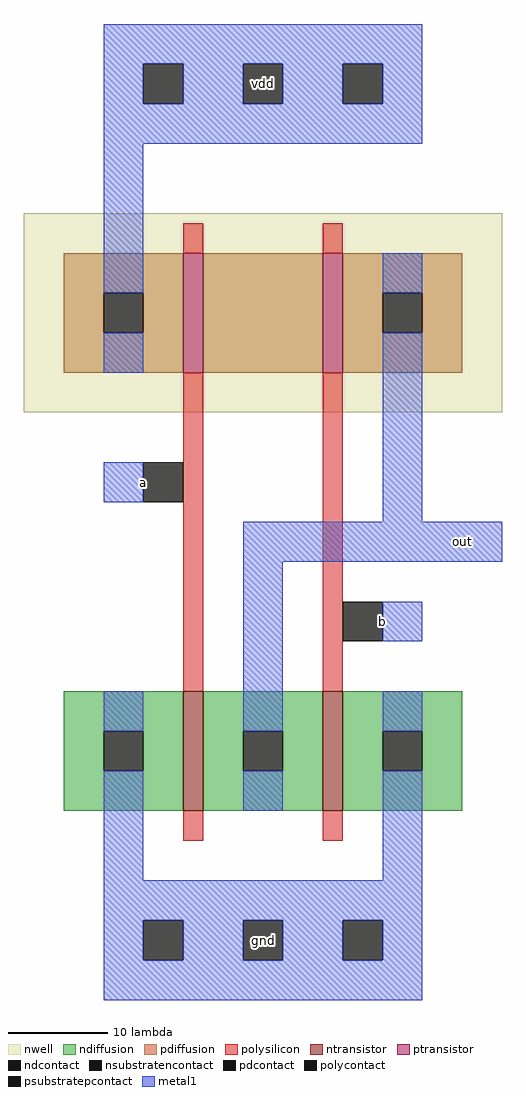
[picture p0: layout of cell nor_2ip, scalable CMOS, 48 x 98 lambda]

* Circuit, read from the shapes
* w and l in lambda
.subckt nor_2ip a b gnd out vdd
M1 out a gnd vdd nfet w=12 l=2
M2 gnd b out vdd nfet w=12 l=2
M3 n1 a vdd n2 pfet w=12 l=2
M4 out b n1 n2 pfet w=12 l=2
.ends

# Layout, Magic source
magic
tech scmos
<< nwell >>
rect -8 36 40 56
<< polysilicon >>
rect 8 52 10 55
rect 22 52 24 55
rect 8 8 10 40
rect 22 8 24 40
rect 8 -7 10 -4
rect 22 -7 24 -4
<< ndiffusion >>
rect -4 4 8 8
rect -4 0 0 4
rect 4 0 8 4
rect -4 -4 8 0
rect 10 4 22 8
rect 10 0 14 4
rect 18 0 22 4
rect 10 -4 22 0
rect 24 4 36 8
rect 24 0 28 4
rect 32 0 36 4
rect 24 -4 36 0
<< pdiffusion >>
rect -4 48 8 52
rect -4 44 0 48
rect 4 44 8 48
rect -4 40 8 44
rect 10 40 22 52
rect 24 48 36 52
rect 24 44 28 48
rect 32 44 36 48
rect 24 40 36 44
<< metal1 >>
rect 0 71 32 75
rect 0 67 4 71
rect 8 67 14 71
rect 18 67 24 71
rect 28 67 32 71
rect 0 63 32 67
rect 0 48 4 63
rect 0 40 4 44
rect 28 48 32 52
rect 0 27 4 31
rect 28 25 32 44
rect 14 21 40 25
rect 0 4 4 8
rect 0 -11 4 0
rect 14 4 18 21
rect 28 13 32 17
rect 14 -4 18 0
rect 28 4 32 8
rect 28 -11 32 0
rect 0 -15 32 -11
rect 0 -19 4 -15
rect 8 -19 14 -15
rect 18 -19 24 -15
rect 28 -19 32 -15
rect 0 -23 32 -19
<< ntransistor >>
rect 8 -4 10 8
rect 22 -4 24 8
<< ptransistor >>
rect 8 40 10 52
rect 22 40 24 52
<< polycontact >>
rect 4 27 8 31
rect 24 13 28 17
<< ndcontact >>
rect 0 0 4 4
rect 14 0 18 4
rect 28 0 32 4
<< pdcontact >>
rect 0 44 4 48
rect 28 44 32 48
<< psubstratepcontact >>
rect 4 67 8 71
rect 14 67 18 71
rect 24 67 28 71
<< nsubstratencontact >>
rect 4 -19 8 -15
rect 14 -19 18 -15
rect 24 -19 28 -15
<< labels >>
rlabel metal1 0 63 32 75 1 vdd
rlabel metal1 0 -23 32 -11 1 gnd
rlabel metal1 24 13 32 17 1 b
rlabel metal1 0 27 8 31 1 a
rlabel metal1 32 21 40 25 7 out
<< end >>
